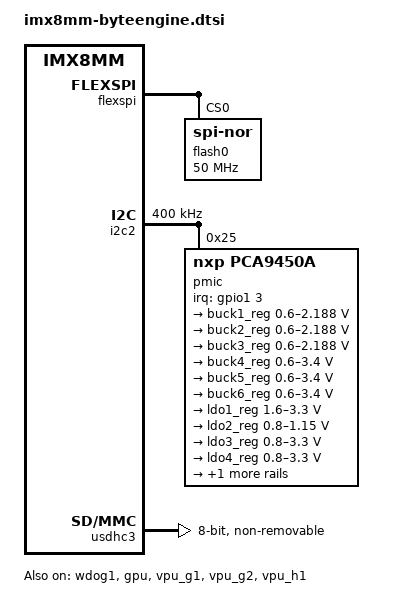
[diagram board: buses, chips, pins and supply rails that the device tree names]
// SPDX-License-Identifier: GPL-2.0+
/*
 *  Copyright (C) 2021 bytes at work AG - https://www.bytesatwork.io
 *
 * Based on imx8mm-ddr4-evk.dts:
 * Copyright 2018 NXP
 *
 */

#include "imx8mm.dtsi"

/ {
	compatible = "batw,byteengine-imx8mm", "fsl,imx8mm";
};

&iomuxc {
	pinctrl_flexspi0: flexspi0grp {
		fsl,pins = <
			MX8MM_IOMUXC_NAND_ALE_QSPI_A_SCLK	0x1c2	/* N22  NAND_ALE */
			MX8MM_IOMUXC_NAND_CE0_B_QSPI_A_SS0_B	0x82	/* N24  NAND_CE0_B */
			MX8MM_IOMUXC_NAND_DATA00_QSPI_A_DATA0	0x82	/* P23  NAND_DATA00 */
			MX8MM_IOMUXC_NAND_DATA01_QSPI_A_DATA1	0x82	/* K24  NAND_DATA01 */
			MX8MM_IOMUXC_NAND_DATA02_QSPI_A_DATA2	0x82	/* K23  NAND_DATA02 */
			MX8MM_IOMUXC_NAND_DATA03_QSPI_A_DATA3	0x82	/* N23  NAND_DATA03 */
		>;
	};

	pinctrl_i2c2: i2c2grp {
		fsl,pins = <
			MX8MM_IOMUXC_I2C2_SCL_I2C2_SCL		0x400001c3	/* D10  I2C2_SCL */
			MX8MM_IOMUXC_I2C2_SDA_I2C2_SDA		0x400001c3	/* D9   I2C2_SDA */
		>;
	};

	pinctrl_pmic: pmicirq {
		fsl,pins = <
			MX8MM_IOMUXC_GPIO1_IO03_GPIO1_IO3	0x41	/* AF13  GPIO1_IO03  GPIO1_IO03 */
		>;
	};

	pinctrl_usdhc3: usdhc3grp {
		fsl,pins = <
			MX8MM_IOMUXC_NAND_WE_B_USDHC3_CLK	0x190
			MX8MM_IOMUXC_NAND_WP_B_USDHC3_CMD	0x1d0
			MX8MM_IOMUXC_NAND_DATA04_USDHC3_DATA0	0x1d0
			MX8MM_IOMUXC_NAND_DATA05_USDHC3_DATA1	0x1d0
			MX8MM_IOMUXC_NAND_DATA06_USDHC3_DATA2	0x1d0
			MX8MM_IOMUXC_NAND_DATA07_USDHC3_DATA3	0x1d0
			MX8MM_IOMUXC_NAND_RE_B_USDHC3_DATA4	0x1d0
			MX8MM_IOMUXC_NAND_CE2_B_USDHC3_DATA5	0x1d0
			MX8MM_IOMUXC_NAND_CE3_B_USDHC3_DATA6	0x1d0
			MX8MM_IOMUXC_NAND_CLE_USDHC3_DATA7	0x1d0
			MX8MM_IOMUXC_NAND_CE1_B_USDHC3_STROBE	0x190
		>;
	};

	pinctrl_usdhc3_100mhz: usdhc3grp100mhz {
		fsl,pins = <
			MX8MM_IOMUXC_NAND_WE_B_USDHC3_CLK	0x194
			MX8MM_IOMUXC_NAND_WP_B_USDHC3_CMD	0x1d4
			MX8MM_IOMUXC_NAND_DATA04_USDHC3_DATA0	0x1d4
			MX8MM_IOMUXC_NAND_DATA05_USDHC3_DATA1	0x1d4
			MX8MM_IOMUXC_NAND_DATA06_USDHC3_DATA2	0x1d4
			MX8MM_IOMUXC_NAND_DATA07_USDHC3_DATA3	0x1d4
			MX8MM_IOMUXC_NAND_RE_B_USDHC3_DATA4	0x1d4
			MX8MM_IOMUXC_NAND_CE2_B_USDHC3_DATA5	0x1d4
			MX8MM_IOMUXC_NAND_CE3_B_USDHC3_DATA6	0x1d4
			MX8MM_IOMUXC_NAND_CLE_USDHC3_DATA7	0x1d4
			MX8MM_IOMUXC_NAND_CE1_B_USDHC3_STROBE	0x194
		>;
	};

	pinctrl_usdhc3_200mhz: usdhc3grp200mhz {
		fsl,pins = <
			MX8MM_IOMUXC_NAND_WE_B_USDHC3_CLK	0x196
			MX8MM_IOMUXC_NAND_WP_B_USDHC3_CMD	0x1d6
			MX8MM_IOMUXC_NAND_DATA04_USDHC3_DATA0	0x1d6
			MX8MM_IOMUXC_NAND_DATA05_USDHC3_DATA1	0x1d6
			MX8MM_IOMUXC_NAND_DATA06_USDHC3_DATA2	0x1d6
			MX8MM_IOMUXC_NAND_DATA07_USDHC3_DATA3	0x1d6
			MX8MM_IOMUXC_NAND_RE_B_USDHC3_DATA4	0x1d6
			MX8MM_IOMUXC_NAND_CE2_B_USDHC3_DATA5	0x1d6
			MX8MM_IOMUXC_NAND_CE3_B_USDHC3_DATA6	0x1d6
			MX8MM_IOMUXC_NAND_CLE_USDHC3_DATA7	0x1d6
			MX8MM_IOMUXC_NAND_CE1_B_USDHC3_STROBE	0x196
		>;
	};

	pinctrl_wdog: wdoggrp {
		fsl,pins = <
			MX8MM_IOMUXC_GPIO1_IO02_WDOG1_WDOG_B	0xc6
		>;
	};
};

&flexspi {
	pinctrl-names = "default";
	pinctrl-0 = <&pinctrl_flexspi0>;
	status = "okay";

	flash0: spi-nor@0 {
		reg = <0>;
		#address-cells = <1>;
		#size-cells = <1>;
		compatible = "jedec,spi-nor";
		spi-max-frequency = <50000000>;
		spi-nor,ddr-quad-read-dummy = <8>;
	};
};

&i2c2 {
	clock-frequency = <400000>;
	pinctrl-names = "default";
	pinctrl-0 = <&pinctrl_i2c2>;
	status = "okay";

	pmic: pca9450@25 {
		compatible = "nxp,pca9450a";
		reg = <0x25>;

		pinctrl-0 = <&pinctrl_pmic>;
		pinctrl-names = "default";
		interrupt-parent = <&gpio1>;
		interrupts = <3 IRQ_TYPE_LEVEL_LOW>;

		regulators {
			buck1_reg: BUCK1 {
				regulator-name = "BUCK1";
				regulator-min-microvolt = <600000>;
				regulator-max-microvolt = <2187500>;
				regulator-boot-on;
				regulator-always-on;
				regulator-ramp-delay = <3125>;
			};

			buck2_reg: BUCK2 {
				regulator-name = "BUCK2";
				regulator-min-microvolt = <600000>;
				regulator-max-microvolt = <2187500>;
				regulator-boot-on;
				regulator-always-on;
				regulator-ramp-delay = <3125>;
				nxp,dvs-run-voltage = <1000000>;
				nxp,dvs-standby-voltage = <900000>;
			};

			buck3_reg: BUCK3 {
				regulator-name = "BUCK3";
				regulator-min-microvolt = <600000>;
				regulator-max-microvolt = <2187500>;
				regulator-boot-on;
				regulator-always-on;
			};

			buck4_reg: BUCK4 {
				regulator-name = "BUCK4";
				regulator-min-microvolt = <600000>;
				regulator-max-microvolt = <3400000>;
				regulator-boot-on;
				regulator-always-on;
			};

			buck5_reg: BUCK5 {
				regulator-name = "BUCK5";
				regulator-min-microvolt = <600000>;
				regulator-max-microvolt = <3400000>;
				regulator-boot-on;
				regulator-always-on;
			};

			buck6_reg: BUCK6 {
				regulator-name = "BUCK6";
				regulator-min-microvolt = <600000>;
				regulator-max-microvolt = <3400000>;
				regulator-boot-on;
				regulator-always-on;
			};

			ldo1_reg: LDO1 {
				regulator-name = "LDO1";
				regulator-min-microvolt = <1600000>;
				regulator-max-microvolt = <3300000>;
				regulator-boot-on;
				regulator-always-on;
			};

			ldo2_reg: LDO2 {
				regulator-name = "LDO2";
				regulator-min-microvolt = <800000>;
				regulator-max-microvolt = <1150000>;
				regulator-boot-on;
				regulator-always-on;
			};

			ldo3_reg: LDO3 {
				regulator-name = "LDO3";
				regulator-min-microvolt = <800000>;
				regulator-max-microvolt = <3300000>;
				regulator-boot-on;
				regulator-always-on;
			};

			ldo4_reg: LDO4 {
				regulator-name = "LDO4";
				regulator-min-microvolt = <800000>;
				regulator-max-microvolt = <3300000>;
				regulator-boot-on;
				regulator-always-on;
			};

			ldo5_reg: LDO5 {
				regulator-name = "LDO5";
				regulator-min-microvolt = <1800000>;
				regulator-max-microvolt = <3300000>;
			};
		};
	};
};

&usdhc3 {
	pinctrl-names = "default", "state_100mhz", "state_200mhz";
	pinctrl-0 = <&pinctrl_usdhc3>;
	pinctrl-1 = <&pinctrl_usdhc3_100mhz>;
	pinctrl-2 = <&pinctrl_usdhc3_200mhz>;
	bus-width = <8>;
	non-removable;
	status = "okay";
};

&wdog1 {
	pinctrl-names = "default";
	pinctrl-0 = <&pinctrl_wdog>;
	fsl,ext-reset-output;
	status = "okay";
};

&gpu {
	status = "okay";
};

&vpu_g1 {
	status = "okay";
};

&vpu_g2 {
	status = "okay";
};

&vpu_h1 {
	status = "okay";
};

&A53_0 {
	cpu-supply = <&buck2_reg>;
};
